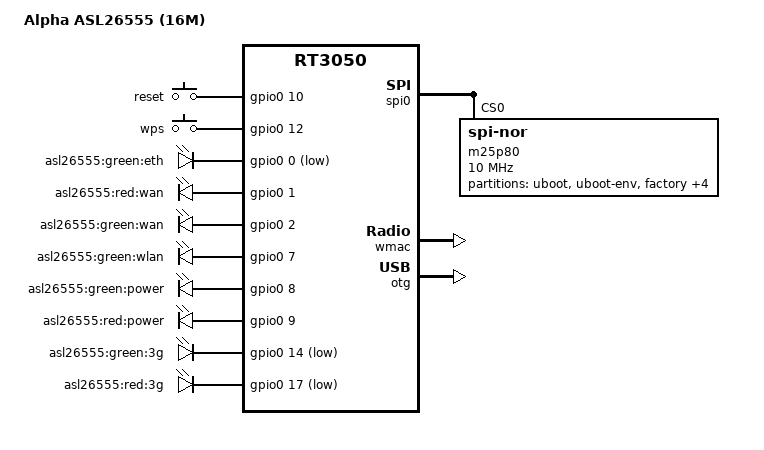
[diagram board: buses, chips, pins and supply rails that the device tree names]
/dts-v1/;

#include "rt3050.dtsi"

#include <dt-bindings/gpio/gpio.h>
#include <dt-bindings/input/input.h>

/ {
	compatible = "alphanetworks,asl26555-16m", "alphanetworks,asl26555", "ralink,rt3050-soc";
	model = "Alpha ASL26555 (16M)";

	gpio-keys-polled {
		compatible = "gpio-keys-polled";
		#address-cells = <1>;
		#size-cells = <0>;
		poll-interval = <20>;

		reset {
			label = "reset";
			gpios = <&gpio0 10 GPIO_ACTIVE_HIGH>;
			linux,code = <KEY_RESTART>;
		};

		wps {
			label = "wps";
			gpios = <&gpio0 12 GPIO_ACTIVE_HIGH>;
			linux,code = <KEY_WPS_BUTTON>;
		};
	};

	gpio-leds {
		compatible = "gpio-leds";

		eth {
			label = "asl26555:green:eth";
			gpios = <&gpio0 0 GPIO_ACTIVE_LOW>;
		};

		wan-red {
			label = "asl26555:red:wan";
			gpios = <&gpio0 1 GPIO_ACTIVE_HIGH>;
		};

		wan-green {
			label = "asl26555:green:wan";
			gpios = <&gpio0 2 GPIO_ACTIVE_HIGH>;
		};

		wlan {
			label = "asl26555:green:wlan";
			gpios = <&gpio0 7 GPIO_ACTIVE_HIGH>;
		};

		power-green {
			label = "asl26555:green:power";
			gpios = <&gpio0 8 GPIO_ACTIVE_HIGH>;
		};

		power-red {
			label = "asl26555:red:power";
			gpios = <&gpio0 9 GPIO_ACTIVE_HIGH>;
		};

		3g-green {
			label = "asl26555:green:3g";
			gpios = <&gpio0 14 GPIO_ACTIVE_LOW>;
		};

		3g-red {
			label = "asl26555:red:3g";
			gpios = <&gpio0 17 GPIO_ACTIVE_LOW>;
		};
	};
};

&gpio0 {
	status = "okay";
};

&spi0 {
	status = "okay";

	m25p80@0 {
		#address-cells = <1>;
		#size-cells = <1>;
		compatible = "jedec,spi-nor";
		reg = <0>;
		spi-max-frequency = <10000000>;

		partition@0 {
			label = "uboot";
			reg = <0x0 0x30000>;
			read-only;
		};

		partition@30000 {
			label = "uboot-env";
			reg = <0x30000 0x10000>;
			read-only;
		};

		partition@40000 {
			label = "factory";
			reg = <0x40000 0x10000>;
			read-only;
		};

		partition@50000 {
			label = "firmware";
			reg = <0x50000 0xf80000>;
		};

		partition@fd0000 {
			label = "cert";
			reg = <0xfd0000 0x10000>;
			read-only;
		};

		partition@fe0000 {
			label = "langpack";
			reg = <0xfe0000 0x10000>;
			read-only;
		};

		devdata: partition@ff0000 {
			label = "devdata";
			reg = <0xff0000 0x10000>;
			read-only;
		};
	};
};

&pinctrl {
	state_default: pinctrl0 {
		gpio {
			ralink,group = "i2c", "jtag", "rgmii", "mdio", "uartf";
			ralink,function = "gpio";
		};
	};
};

&ethernet {
	mtd-mac-address = <&devdata 0x4004>;
};

&esw {
	mediatek,portmap = <0x1e>;
};

&wmac {
	ralink,mtd-eeprom = <&devdata 0x4000>;
};

&otg {
	status = "okay";
};
